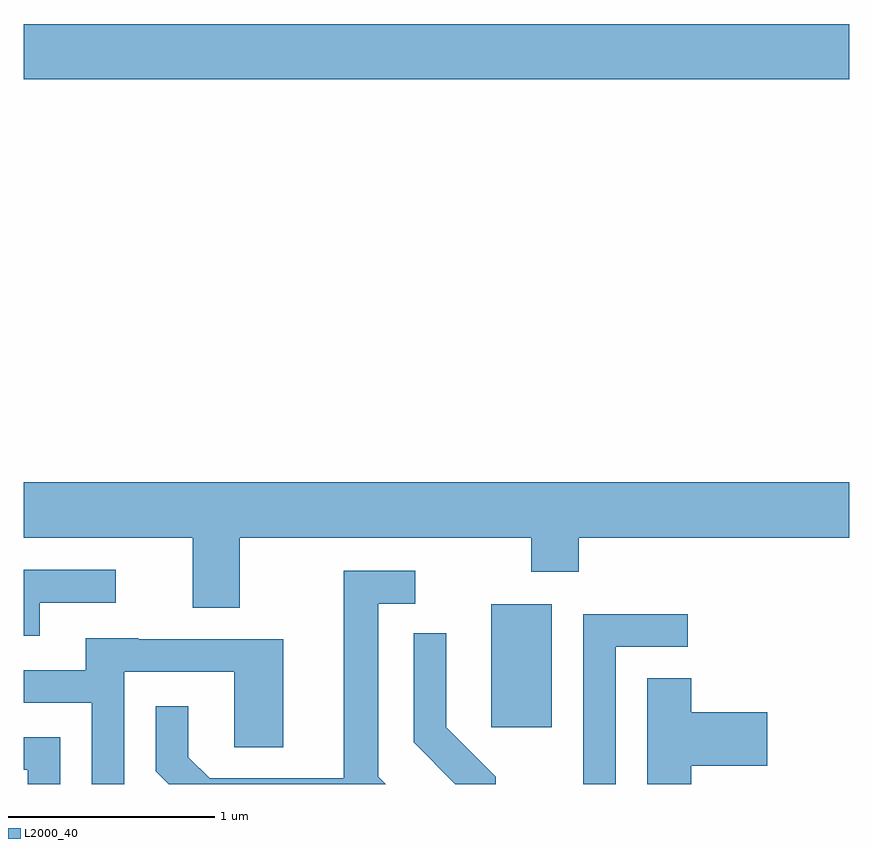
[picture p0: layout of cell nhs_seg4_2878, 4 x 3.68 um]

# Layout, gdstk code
import gdstk
lib = gdstk.Library(unit=1e-6, precision=1e-09)
def R(c, l, rs):  # rectangles x0, y0, x1, y1
    for r in rs: c.add(gdstk.rectangle(r[:2], r[2:], *l))
def P(c, l, *ps):  # polygons
    for p in ps: c.add(gdstk.Polygon(p, *l))
L2000_40 = (2000, 40)

nhs_seg4_2878 = lib.new_cell('nhs_seg4_2878')
R(nhs_seg4_2878, L2000_40, [(271.876,1298.256,272.169,1298.854), (269.611,1301.396,273.611,1301.664)])
P(nhs_seg4_2878, L2000_40, [(270.659,1299.176),(272.071,1299.176),(272.071,1299.011),(272.299,1299.011),(272.299,1299.176),(273.611,1299.176),(273.611,1299.444),(269.611,1299.444),(269.611,1299.176),(270.431,1299.176),(270.431,1298.836),(270.659,1298.836)],
  [(269.689,1298.861),(270.058,1298.861),(270.058,1299.019),(269.611,1299.019),(269.611,1298.701),(269.689,1298.701)],
  [(271.329,1298.017),(271.329,1298.856),(271.508,1298.856),(271.508,1299.014),(271.161,1299.014),(271.161,1298.009),(270.512,1298.009),(270.409,1298.112),(270.409,1298.358),(270.251,1298.358),(270.251,1298.044),(270.313,1297.982),(271.364,1297.982)],
  [(272.479,1298.646),(272.828,1298.646),(272.828,1298.804),(272.321,1298.804),(272.321,1297.982),(272.479,1297.982)],
  [(271.899,1298.017),(271.659,1298.257),(271.659,1298.713),(271.501,1298.713),(271.501,1298.184),(271.703,1297.982),(271.899,1297.982)],
  [(270.099,1298.526),(270.631,1298.526),(270.631,1298.161),(270.869,1298.161),(270.869,1298.684),(270.165,1298.684),(270.165,1298.689),(269.911,1298.689),(269.911,1298.534),(269.611,1298.534),(269.611,1298.376),(269.941,1298.376),(269.941,1297.982),(270.099,1297.982)],
  [(272.844,1298.071),(273.214,1298.071),(273.214,1298.329),(272.844,1298.329),(272.844,1298.494),(272.631,1298.494),(272.631,1297.982),(272.844,1297.982)],
  [(269.789,1298.209),(269.611,1298.209),(269.611,1298.051),(269.631,1298.051),(269.631,1297.982),(269.789,1297.982)])

lib.write_gds('nhs_seg4_2878.gds')
